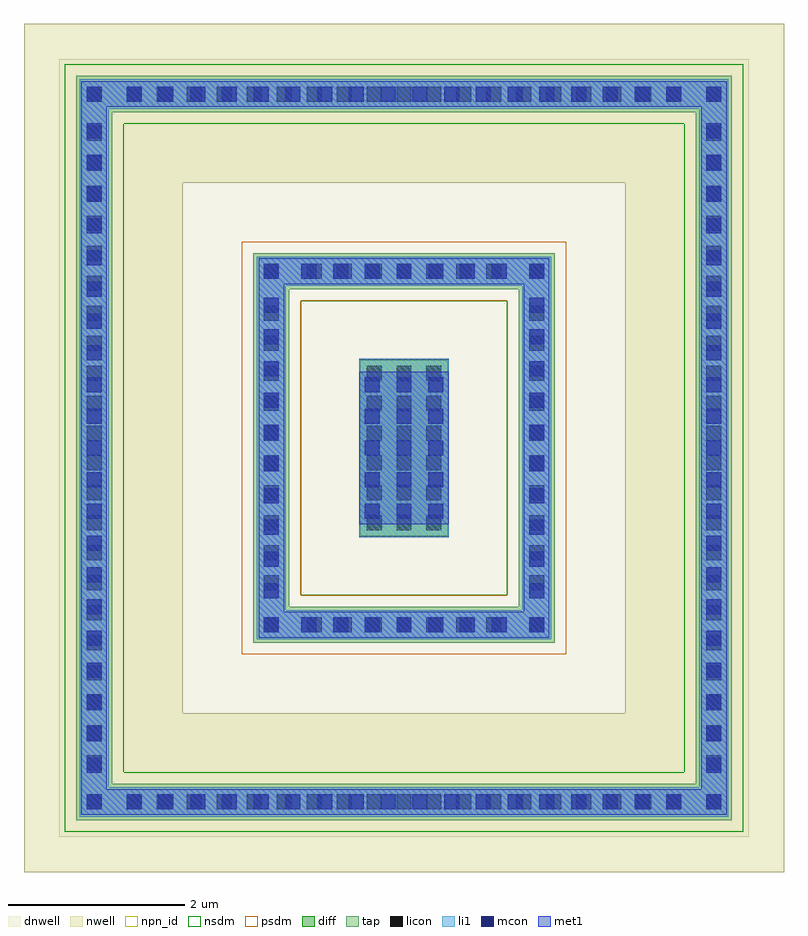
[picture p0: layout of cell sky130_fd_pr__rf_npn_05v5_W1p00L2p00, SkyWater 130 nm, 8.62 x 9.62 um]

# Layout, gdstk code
import gdstk
lib = gdstk.Library(unit=1e-6, precision=1e-09)
def R(c, l, rs):  # rectangles x0, y0, x1, y1
    for r in rs: c.add(gdstk.rectangle(r[:2], r[2:], *l))
def A(c, l, x, y, w, h, nx, ny, dx, dy):  # array of equal rectangles
    R(c, l, [(x+i*dx, y+j*dy, x+i*dx+w, y+j*dy+h) for i in range(nx) for j in range(ny)])
def P(c, l, *ps):  # polygons
    for p in ps: c.add(gdstk.Polygon(p, *l))
dnwell = (64, 18)
nwell = (64, 20)
diff = (65, 20)
tap = (65, 44)
licon = (66, 44)
li1 = (67, 20)
mcon = (67, 44)
met1 = (68, 20)
npn_id = (82, 20)
nsdm = (93, 44)
psdm = (94, 20)

sky130_fd_pr__rf_npn_05v = lib.new_cell('sky130_fd_pr__rf_npn_05v5_W1p00L2p00')
R(sky130_fd_pr__rf_npn_05v, dnwell, [(0.4,0.4,8.22,9.22)])
R(sky130_fd_pr__rf_npn_05v, nwell, [(0.865,0.41,7.755,1.18), (0.41,0.855,1.18,8.765), (7.44,0.855,8.21,8.765), (0.865,8.44,7.755,9.21)])
R(sky130_fd_pr__rf_npn_05v, diff, [(3.81,3.81,4.81,5.81), (3.825,3.815,4.795,5.805)])
R(sky130_fd_pr__rf_npn_05v, tap, [(1.045,0.59,7.575,1), (0.59,1.035,1,8.585), (7.62,1.035,8.03,8.585), (3.085,2.6,5.535,3.01), (2.6,3.075,3.01,6.545), (5.61,3.075,6.02,6.545), (3.085,6.61,5.535,7.02), (1.045,8.62,7.575,9.03)])
P(sky130_fd_pr__rf_npn_05v, tap, [(5.535,2.6),(5.535,3.01),(5.61,3.01),(5.61,3.085),(6.02,3.085),(6.02,2.6)],
  [(2.6,2.6),(2.6,3.075),(3.01,3.075),(3.01,3.01),(3.085,3.01),(3.085,2.6)],
  [(2.6,6.545),(2.6,7.02),(3.085,7.02),(3.085,6.61),(3.01,6.61),(3.01,6.545)],
  [(5.61,6.545),(5.61,6.61),(5.535,6.61),(5.535,7.02),(6.02,7.02),(6.02,6.545)],
  [(0.59,0.59),(0.59,1.035),(1,1.035),(1,1),(1.045,1),(1.045,0.59)],
  [(7.575,0.59),(7.575,1),(7.62,1),(7.62,1.035),(8.03,1.035),(8.03,0.59)],
  [(7.62,8.585),(7.62,8.62),(7.575,8.62),(7.575,9.03),(8.03,9.03),(8.03,8.585)],
  [(0.59,8.585),(0.59,9.03),(1.045,9.03),(1.045,8.62),(1,8.62),(1,8.585)])
A(sky130_fd_pr__rf_npn_05v, licon, 1.165, 0.71, 0.17, 0.17, 19, 2, 0.34, 8.03)
A(sky130_fd_pr__rf_npn_05v, licon, 0.71, 1.155, 0.17, 0.17, 1, 22, 0, 0.34)
A(sky130_fd_pr__rf_npn_05v, licon, 7.74, 1.155, 0.17, 0.17, 1, 22, 0, 0.34)
A(sky130_fd_pr__rf_npn_05v, licon, 3.205, 2.72, 0.17, 0.17, 7, 2, 0.34, 4.01)
A(sky130_fd_pr__rf_npn_05v, licon, 2.72, 3.195, 0.17, 0.17, 1, 10, 0, 0.34)
A(sky130_fd_pr__rf_npn_05v, licon, 5.73, 3.195, 0.17, 0.17, 1, 10, 0, 0.34)
A(sky130_fd_pr__rf_npn_05v, licon, 3.885, 3.875, 0.17, 0.17, 3, 6, 0.34, 0.34)
R(sky130_fd_pr__rf_npn_05v, licon, [(0.71,0.71,0.88,0.88), (7.74,0.71,7.91,0.88), (2.72,2.72,2.89,2.89), (5.73,2.72,5.9,2.89), (2.72,6.73,2.89,6.9), (5.73,6.73,5.9,6.9), (0.71,8.74,0.88,8.91), (7.74,8.74,7.91,8.91)])
R(sky130_fd_pr__rf_npn_05v, li1, [(1.085,0.63,7.535,0.96), (1.165,0.71,7.455,0.88), (0.63,1.075,0.96,8.545), (7.66,1.075,7.99,8.545), (0.71,1.125,0.88,8.495), (7.74,1.125,7.91,8.495), (3.125,2.64,5.495,2.97), (3.145,2.72,5.475,2.89), (2.72,3.105,2.89,6.515), (5.73,3.105,5.9,6.515), (2.64,3.115,2.97,6.505), (5.65,3.115,5.98,6.505), (3.805,3.795,4.815,5.825), (3.865,4.005,4.755,5.615), (3.125,6.65,5.495,6.98), (3.145,6.73,5.475,6.9), (1.085,8.66,7.535,8.99), (1.165,8.74,7.455,8.91)])
P(sky130_fd_pr__rf_npn_05v, li1, [(2.64,6.505),(2.64,6.98),(3.125,6.98),(3.125,6.65),(2.97,6.65),(2.97,6.505)],
  [(5.65,6.505),(5.65,6.65),(5.495,6.65),(5.495,6.98),(5.98,6.98),(5.98,6.505)],
  [(5.495,2.64),(5.495,2.97),(5.65,2.97),(5.65,3.125),(5.98,3.125),(5.98,2.64)],
  [(0.63,0.63),(0.63,1.075),(0.96,1.075),(0.96,0.96),(1.085,0.96),(1.085,0.63)],
  [(7.535,0.63),(7.535,0.96),(7.66,0.96),(7.66,1.075),(7.99,1.075),(7.99,0.63)],
  [(7.66,8.545),(7.66,8.66),(7.535,8.66),(7.535,8.99),(7.99,8.99),(7.99,8.545)],
  [(0.63,8.545),(0.63,8.99),(1.085,8.99),(1.085,8.66),(0.96,8.66),(0.96,8.545)],
  [(2.64,2.64),(2.64,3.125),(2.97,3.125),(2.97,2.97),(3.125,2.97),(3.125,2.64)])
A(sky130_fd_pr__rf_npn_05v, mcon, 1.165, 0.71, 0.17, 0.17, 18, 2, 0.36, 8.03)
A(sky130_fd_pr__rf_npn_05v, mcon, 0.71, 1.125, 0.17, 0.17, 1, 21, 0, 0.36)
A(sky130_fd_pr__rf_npn_05v, mcon, 7.74, 1.125, 0.17, 0.17, 1, 21, 0, 0.36)
A(sky130_fd_pr__rf_npn_05v, mcon, 3.145, 2.72, 0.17, 0.17, 7, 2, 0.36, 4.01)
A(sky130_fd_pr__rf_npn_05v, mcon, 2.72, 3.105, 0.17, 0.17, 1, 10, 0, 0.36)
A(sky130_fd_pr__rf_npn_05v, mcon, 5.73, 3.105, 0.17, 0.17, 1, 10, 0, 0.36)
A(sky130_fd_pr__rf_npn_05v, mcon, 3.865, 4.005, 0.17, 0.17, 3, 5, 0.36, 0.36)
R(sky130_fd_pr__rf_npn_05v, mcon, [(0.71,0.71,0.88,0.88), (7.74,0.71,7.91,0.88), (2.72,2.72,2.89,2.89), (5.73,2.72,5.9,2.89), (2.72,6.73,2.89,6.9), (5.73,6.73,5.9,6.9), (0.71,8.74,0.88,8.91), (7.74,8.74,7.91,8.91)])
R(sky130_fd_pr__rf_npn_05v, met1, [(1.105,0.65,7.515,0.94), (0.65,1.065,0.94,8.555), (7.68,1.065,7.97,8.555), (3.085,2.66,5.535,2.95), (2.66,3.045,2.95,6.575), (5.67,3.045,5.96,6.575), (3.805,3.945,4.815,5.675), (3.085,6.67,5.535,6.96), (1.105,8.68,7.515,8.97)])
P(sky130_fd_pr__rf_npn_05v, met1, [(0.65,8.555),(0.65,8.97),(1.105,8.97),(1.105,8.68),(0.94,8.68),(0.94,8.555)],
  [(0.65,0.65),(0.65,1.065),(0.94,1.065),(0.94,0.94),(1.105,0.94),(1.105,0.65)],
  [(7.515,0.65),(7.515,0.94),(7.68,0.94),(7.68,1.065),(7.97,1.065),(7.97,0.65)],
  [(7.68,8.555),(7.68,8.68),(7.515,8.68),(7.515,8.97),(7.97,8.97),(7.97,8.555)],
  [(5.67,6.575),(5.67,6.67),(5.535,6.67),(5.535,6.96),(5.96,6.96),(5.96,6.575)],
  [(2.66,2.66),(2.66,3.045),(2.95,3.045),(2.95,2.95),(3.085,2.95),(3.085,2.66)],
  [(2.66,6.575),(2.66,6.96),(3.085,6.96),(3.085,6.67),(2.95,6.67),(2.95,6.575)],
  [(5.535,2.66),(5.535,2.95),(5.67,2.95),(5.67,3.045),(5.96,3.045),(5.96,2.66)])
R(sky130_fd_pr__rf_npn_05v, npn_id, [(0.59,0.59,8.03,9.03)])
R(sky130_fd_pr__rf_npn_05v, nsdm, [(0.46,0.46,0.915,0.905), (0.915,0.46,7.705,1.13), (7.705,0.46,8.16,0.905), (0.46,0.905,1.13,8.715), (7.49,0.905,8.16,8.715), (3.14,3.14,5.48,6.48), (3.695,3.685,4.925,5.935), (3.705,3.685,4.915,5.935), (0.915,8.49,7.705,9.16), (0.46,8.715,0.915,9.16), (7.705,8.715,8.16,9.16)])
R(sky130_fd_pr__rf_npn_05v, psdm, [(2.47,2.47,2.955,2.955), (2.955,2.47,5.665,3.14), (5.665,2.47,6.15,2.955), (2.47,2.945,3.14,6.675), (5.48,2.945,6.15,6.675), (2.955,6.48,5.665,7.15), (2.47,6.675,2.955,7.15), (5.665,6.675,6.15,7.15)])
sky130_fd_pr__rf_npn_05v.add(gdstk.FlexPath([(0.9,1.8),(0.9,8.72),(7.72,8.72),(7.72,0.9),(0,0.9)], 1.8, ends="flush", simple_path=True, layer=64, datatype=20))  # nwell

lib.write_gds('sky130_fd_pr__rf_npn_05v5_W1p00L2p00.gds')
